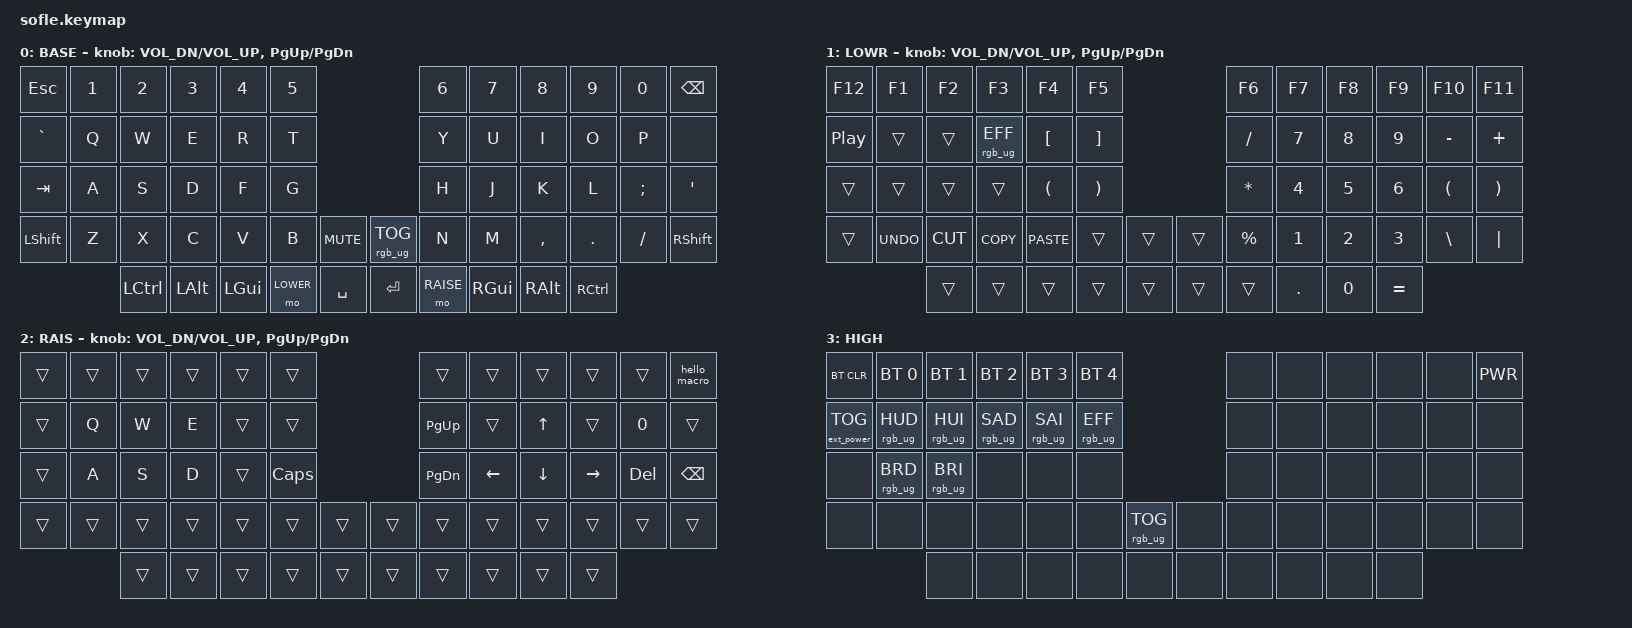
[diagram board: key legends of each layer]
/*
 * Copyright (c) 2020 The ZMK Contributors
 *
 * SPDX-License-Identifier: MIT
 */

#include <behaviors.dtsi>
#include <dt-bindings/zmk/keys.h>
#include <dt-bindings/zmk/bt.h>
#include <dt-bindings/zmk/rgb.h>
#include <dt-bindings/zmk/ext_power.h>

#define BASE 0
#define LOWER 1
#define RAISE 2
#define ADJUST 3

/ {

    // ---- ADD YOUR MACROS HERE ----
    macros {
// Private macros live in local_macros.dtsi (gitignored, see local_macros.dtsi.example).
// When it is missing (e.g. GitHub Actions), a no-op placeholder is used instead.
#if __has_include("local_macros.dtsi")
#include "local_macros.dtsi"
#else
        hello_macro: hello_macro {
            compatible = "zmk,behavior-macro";
            #binding-cells = <0>;
            bindings = <&none>;
        };
#endif
    };
   // Activate ADJUST layer by pressing raise and lower
    conditional_layers {
        compatible = "zmk,conditional-layers";
        adjust_layer {
            if-layers = <LOWER RAISE>;
            then-layer = <ADJUST>;
        };
    };

    keymap {
        compatible = "zmk,keymap";

        default_layer {
            display-name = "BASE";
// ----------------------------------------------------                   --------------------------------------------------------
// |  ESC  |  1  |  2  |  3   |  4   |  5   |                                      |  6   |  7    |  8    |  9   |   0   | BKSPC |
// |   `   |  Q  |  W  |  E   |  R   |  T   |                                      |  Y   |  U    |  I    |  O   |   P   | LAYER?|
// |  TAB  |  A  |  S  |  D   |  F   |  G   |                                      |  H   |  J    |  K    |  L   |   ;   |   '   |
// | SHIFT |  Z  |  X  |  C   |  V   |  B   |  MUTE  |                     |       |  N   |  M    |  ,    |  .   |   /   | SHIFT |
//               | CTRL | ALT | GUI  | LOWER|  SPACE |                     | ENTER | RAISE|  GUI  | ALT   | CTRL |
            bindings = <
&kp ESC   &kp N1 &kp N2   &kp N3   &kp N4    &kp N5                                  &kp N6 &kp N7    &kp N8    &kp N9   &kp N0   &kp BSPC
&kp GRAVE &kp Q  &kp W    &kp E    &kp R     &kp T                                   &kp Y  &kp U     &kp I     &kp O    &kp P    &none
&kp TAB   &kp A  &kp S    &kp D    &kp F     &kp G                                   &kp H  &kp J     &kp K     &kp L    &kp SEMI &kp SQT
&kp LSHFT &kp Z  &kp X    &kp C    &kp V     &kp B     &kp C_MUTE    &rgb_ug RGB_TOG &kp N  &kp M     &kp COMMA &kp DOT  &kp FSLH &kp RSHFT
                 &kp LCTRL &kp LALT &kp LGUI &mo LOWER &kp SPACE     &kp RET      &mo RAISE &kp RGUI  &kp RALT &kp RCTRL
            >;

            sensor-bindings = <&inc_dec_kp C_VOL_DN C_VOL_UP &inc_dec_kp PG_UP PG_DN>;
        };

        lower_layer {
            display-name = "LOWR";
// TODO: Some binds are waiting for shifted keycode support.
// ----------------------------------------------------                     --------------------------------------------------------
// |  F12  |  F1 |  F2 |  F3  |  F4  |  F5  |                                        |  F6  |  F7   |  F8   |  F9  |  F10  |  F11  |
// |  Play |     |     |RGBNXT|  [   |   ]  |                                        |   /  |   7   |   8   |   9  |   -   |   +   |
// |       |     |     |      |  (   |   )  |                                        |   *  |   4   |   5   |   6  |   (   |   )   |
// |       |UNDO | CUT | COPY | PASTE|      |        |                       |       |   %  |   1   |   2   |   3  |   \   |   |   |
//               |     |      |      |      |        |                       |       |      |   .   |   0   |   =  |
            bindings = <
&kp F12    &kp F1    &kp F2    &kp F3     &kp F4    &kp F5                     &kp F6    &kp F7   &kp F8    &kp F9    &kp F10   &kp F11
&kp C_PP  &trans    &trans  &rgb_ug RGB_EFF &kp LBKT  &kp RBKT                 &kp FSLH  &kp N7   &kp N8    &kp N9    &kp MINUS &kp PLUS 
&trans    &trans    &trans    &trans      &kp LPAR  &kp RPAR                   &kp STAR  &kp N4   &kp N5    &kp N6    &kp LPAR  &kp RPAR
&trans &kp K_UNDO &kp K_CUT &kp K_COPY &kp K_PASTE  &trans    &trans &trans    &kp PRCNT &kp N1   &kp N2    &kp N3    &kp BSLH  &kp PIPE
                    &trans    &trans      &trans    &trans    &trans &trans    &trans    &kp DOT  &kp N0    &kp EQUAL
            >;

            sensor-bindings = <&inc_dec_kp C_VOL_DN C_VOL_UP &inc_dec_kp PG_UP PG_DN>;
        };

        raise_layer {
            display-name = "RAIS";
// ------------------------------------------------------                                    ------------------------------------------------------
// |       |      |      |       |       |      |                                                    |      |      |       |      |       |       |
// |       |      |   W  |       |       |      |                                                    | PGUP |      |   ^   |      |       |       |
// |       |  A   |   S  |   D   |       | CAPS |                                                    | PGDN |   <- |   v   |  ->  |  DEL  | BKSPC |
// |       | UNDO | CUT  | COPY  | PASTE |      |      |                                      |      |      |      |       |      |       |       |
//                |      |       |       |      |      |                                      |      |      |      |       |      |
            bindings = <
&trans     &trans       &trans       &trans       &trans       &trans                        &trans    &trans    &trans   &trans    &trans  &hello_macro
&trans     &kp Q       &kp W         &kp E        &trans       &trans                        &kp PG_UP &trans    &kp UP   &trans    &kp N0  &trans
&trans     &kp A       &kp S         &kp D        &trans       &kp CLCK                      &kp PG_DN &kp LEFT  &kp DOWN &kp RIGHT &kp DEL &kp BSPC
&trans     &trans      &trans        &trans       &trans       &trans    &trans  &trans      &trans    &trans    &trans   &trans    &trans  &trans
                        &trans       &trans       &trans       &trans    &trans  &trans      &trans    &trans    &trans   &trans
            >;

            sensor-bindings = <&inc_dec_kp C_VOL_DN C_VOL_UP &inc_dec_kp PG_UP PG_DN>;
        };

        adjust_layer {
// ----------------------------------------------------------------------                                          ------------------------------------------------------
// | BTCLR  |  BT1    |  BT2    |   BT3   |   BT4   |   BT5   |                                                            |      |      |       |      |       |       |
// | EXTPWR | RGB_HUD | RGB_HUI | RGB_SAD | RGB_SAI | RGB_EFF |                                                            |      |      |       |      |       |       |
// |        | RGB_BRD | RGB_BRI |         |         |         |                                                            |      |      |       |      |       |       |
// |        |         |         |         |         |         | RGB_TOG |                                           |      |      |      |       |      |       |       |
//                    |         |         |         |         |         |                                           |      |      |      |       |      |
            display-name = "HIGH";
            bindings = <
&bt BT_CLR        &bt BT_SEL 0    &bt BT_SEL 1    &bt BT_SEL 2    &bt BT_SEL 3    &bt BT_SEL 4                                   &none &none &none &none &none &kp K_PWR
&ext_power EP_TOG &rgb_ug RGB_HUD &rgb_ug RGB_HUI &rgb_ug RGB_SAD &rgb_ug RGB_SAI &rgb_ug RGB_EFF                                &none &none &none &none &none &none
&none             &rgb_ug RGB_BRD &rgb_ug RGB_BRI &none           &none           &none                                          &none &none &none &none &none &none
&none             &none           &none           &none           &none           &none    &rgb_ug RGB_TOG          &none  &none &none &none &none &none &none
                                  &none           &none           &none           &none    &none                    &none  &none &none &none &none
            >;
        };

        extra1 { status = "reserved"; };

        extra2 { status = "reserved"; };

        extra3 { status = "reserved"; };

        extra4 { status = "reserved"; };
    };
};
